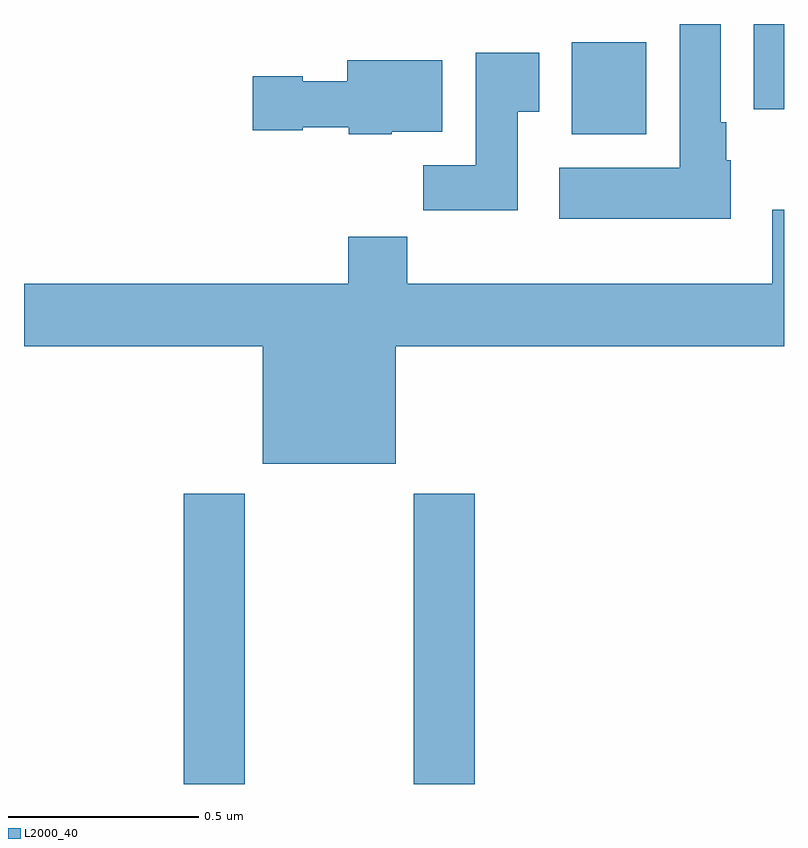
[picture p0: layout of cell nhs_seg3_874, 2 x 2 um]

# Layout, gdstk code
import gdstk
lib = gdstk.Library(unit=1e-6, precision=1e-09)
def R(c, l, rs):  # rectangles x0, y0, x1, y1
    for r in rs: c.add(gdstk.rectangle(r[:2], r[2:], *l))
def P(c, l, *ps):  # polygons
    for p in ps: c.add(gdstk.Polygon(p, *l))
L2000_40 = (2000, 40)

nhs_seg3_874 = lib.new_cell('nhs_seg3_874')
R(nhs_seg3_874, L2000_40, [(121.421,730.4,121.581,731.164), (122.026,730.4,122.186,731.164), (122.441,732.11,122.638,732.352), (122.921,732.176,123,732.4)])
P(nhs_seg3_874, L2000_40, [(122.86,732.042),(122.848,732.042),(122.848,732.142),(122.833,732.142),(122.833,732.4),(122.726,732.4),(122.726,732.022),(122.409,732.022),(122.409,731.888),(122.86,731.888)],
  [(122.299,732.169),(122.356,732.169),(122.356,732.325),(122.189,732.325),(122.189,732.028),(122.05,732.028),(122.05,731.91),(122.299,731.91)],
  [(121.968,732.116),(122.101,732.116),(122.101,732.304),(121.85,732.304),(121.85,732.25),(121.734,732.25),(121.734,732.263),(121.602,732.263),(121.602,732.121),(121.734,732.121),(121.734,732.128),(121.854,732.128),(121.854,732.11),(121.968,732.11)],
  [(121.978,731.552),(123,731.552),(123,731.911),(122.969,731.911),(122.969,731.716),(122.009,731.716),(122.009,731.84),(121.853,731.84),(121.853,731.716),(121,731.716),(121,731.552),(121.628,731.552),(121.628,731.243),(121.978,731.243)])

lib.write_gds('nhs_seg3_874.gds')
